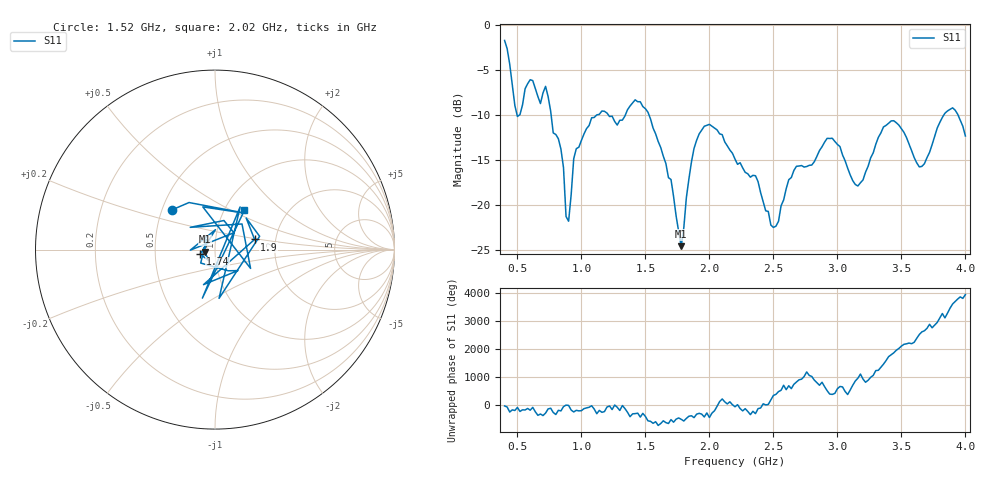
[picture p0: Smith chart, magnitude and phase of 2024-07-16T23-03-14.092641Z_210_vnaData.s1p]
!Created with skrf (http://scikit-rf.org).
# Hz S RI R 50.0
!freq ReS11 ImS11
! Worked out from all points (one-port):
!   181 points, 400 MHz to 4 GHz, reference 50 ohm
!   lowest |S11| = -24.6 dB at 1.78 GHz (marker M1), VSWR 1.12, Z = 44.5 - j1 ohm
!   |S11| at or under -10 dB: 763.2 MHz to 1.127 GHz (363.7 MHz wide, 38.5 % of centre); 1.209 GHz to 1.344 GHz (134.9 MHz wide, 10.6 % of centre); 1.527 GHz to 3.833 GHz (2.306 GHz wide, 86 % of centre) (the widest 3 of 5)
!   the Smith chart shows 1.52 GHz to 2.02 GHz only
!   S11 on the Smith chart (normalised r, x): 1.52 GHz: 0.56, +0.28; 1.74 GHz: 0.85, -0.04; 1.9 GHz: 1.55, +0.19; 2.02 GHz: 1.24, +0.58
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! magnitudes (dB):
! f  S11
! 400 MHz  -1.7
! 500 MHz  -10.2
! 600 MHz  -6.1
! 720 MHz  -6.9
! 860 MHz  -15.9
! 880 MHz  -21.3
! 900 MHz  -21.8
! 940 MHz  -14.9
! 1.08 GHz  -10.3
! 1.3 GHz  -10.6
! 1.52 GHz  -9.7
! 1.74 GHz  -21.3
! 1.76 GHz  -23.0
! 1.78 GHz  -24.6
! 1.9 GHz  -12.9
! 2.02 GHz  -11.3
! 2.2 GHz  -14.9
! 2.36 GHz  -16.8
! 2.5 GHz  -22.5
! 2.66 GHz  -16.2
! 2.96 GHz  -12.6
! 3.1 GHz  -16.7
! 3.2 GHz  -17.3
! 3.42 GHz  -10.7
! 3.56 GHz  -13.3
! 3.66 GHz  -15.7
! 3.9 GHz  -9.2
! 4 GHz  -12.4
